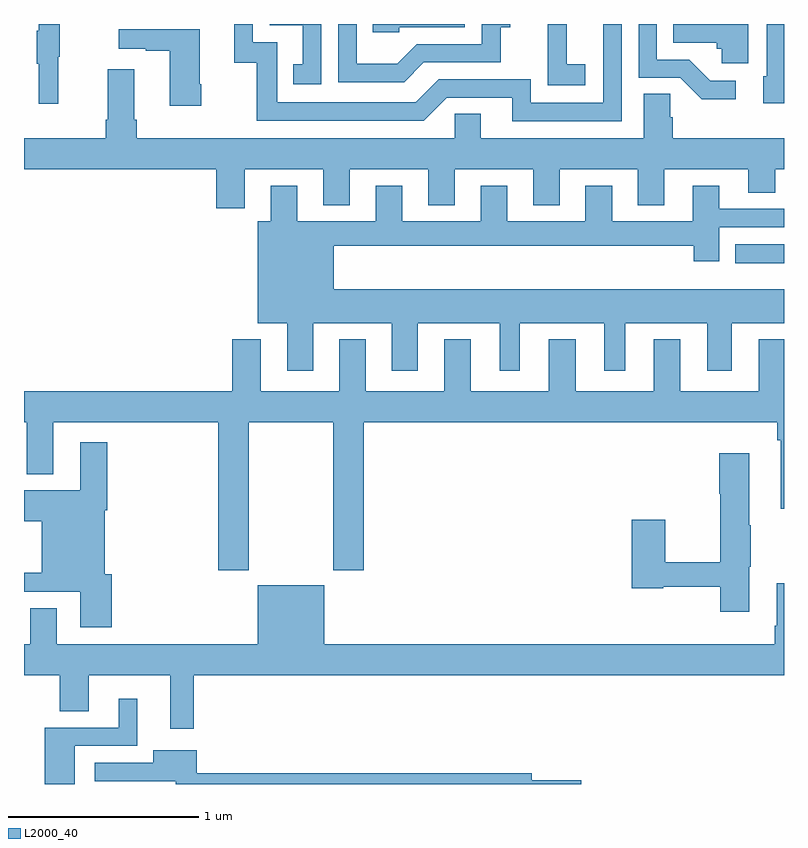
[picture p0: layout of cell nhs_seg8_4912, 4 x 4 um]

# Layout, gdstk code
import gdstk
lib = gdstk.Library(unit=1e-6, precision=1e-09)
def R(c, l, rs):  # rectangles x0, y0, x1, y1
    for r in rs: c.add(gdstk.rectangle(r[:2], r[2:], *l))
def P(c, l, *ps):  # polygons
    for p in ps: c.add(gdstk.Polygon(p, *l))
L2000_40 = (2000, 40)

nhs_seg8_4912 = lib.new_cell('nhs_seg8_4912')
R(nhs_seg8_4912, L2000_40, [(410.744,1146.641,411,1146.742)])
P(nhs_seg8_4912, L2000_40, [(408.564,1147.9),(408.294,1147.9),(408.294,1147.893),(408.467,1147.893),(408.467,1147.689),(408.418,1147.689),(408.418,1147.584),(408.564,1147.584)],
  [(408.975,1147.884),(409.32,1147.884),(409.32,1147.9),(408.835,1147.9),(408.835,1147.857),(408.975,1147.857)],
  [(409.954,1147.687),(409.856,1147.687),(409.856,1147.9),(409.757,1147.9),(409.757,1147.783),(409.756,1147.783),(409.756,1147.577),(409.954,1147.577)],
  [(410.145,1147.9),(410.049,1147.9),(410.049,1147.485),(409.668,1147.485),(409.668,1147.608),(409.182,1147.608),(409.062,1147.488),(408.333,1147.488),(408.333,1147.803),(408.204,1147.803),(408.204,1147.9),(408.107,1147.9),(408.107,1147.695),(408.225,1147.695),(408.225,1147.392),(409.104,1147.392),(409.224,1147.512),(409.571,1147.512),(409.571,1147.389),(410.145,1147.389)],
  [(411,1147.9),(410.91,1147.9),(410.91,1147.626),(410.891,1147.626),(410.891,1147.482),(411,1147.482)],
  [(410.746,1147.602),(410.611,1147.602),(410.5,1147.713),(410.331,1147.713),(410.331,1147.9),(410.235,1147.9),(410.235,1147.617),(410.454,1147.617),(410.567,1147.505),(410.746,1147.505)],
  [(409.105,1147.698),(409.509,1147.698),(409.509,1147.883),(409.558,1147.883),(409.558,1147.9),(409.41,1147.9),(409.41,1147.794),(409.068,1147.794),(408.964,1147.69),(408.75,1147.69),(408.75,1147.9),(408.654,1147.9),(408.654,1147.593),(409,1147.593)],
  [(410.812,1147.9),(410.416,1147.9),(410.416,1147.802),(410.647,1147.802),(410.647,1147.77),(410.673,1147.77),(410.673,1147.694),(410.812,1147.694)],
  [(407.18,1147.728),(407.188,1147.728),(407.188,1147.9),(407.078,1147.9),(407.078,1147.865),(407.067,1147.865),(407.067,1147.691),(407.078,1147.691),(407.078,1147.479),(407.18,1147.479)],
  [(407.934,1147.582),(407.926,1147.582),(407.926,1147.873),(407.499,1147.873),(407.499,1147.769),(407.642,1147.769),(407.642,1147.759),(407.768,1147.759),(407.768,1147.47),(407.934,1147.47)],
  [(409.405,1147.427),(409.266,1147.427),(409.266,1147.3),(407.594,1147.3),(407.594,1147.396),(407.581,1147.396),(407.581,1147.663),(407.441,1147.663),(407.441,1147.396),(407.429,1147.396),(407.429,1147.3),(407,1147.3),(407,1147.136),(408.011,1147.136),(408.011,1146.93),(408.163,1146.93),(408.163,1147.136),(408.575,1147.136),(408.575,1146.947),(408.715,1146.947),(408.715,1147.136),(409.127,1147.136),(409.127,1146.947),(409.267,1146.947),(409.267,1147.136),(409.679,1147.136),(409.679,1146.947),(409.819,1146.947),(409.819,1147.136),(410.231,1147.136),(410.231,1146.947),(410.371,1146.947),(410.371,1147.136),(410.813,1147.136),(410.813,1147.012),(410.953,1147.012),(410.953,1147.136),(411,1147.136),(411,1147.3),(410.414,1147.3),(410.414,1147.409),(410.4,1147.409),(410.4,1147.532),(410.261,1147.532),(410.261,1147.3),(409.405,1147.3)],
  [(408.523,1146.326),(408.935,1146.326),(408.935,1146.075),(409.072,1146.075),(409.072,1146.326),(409.505,1146.326),(409.505,1146.075),(409.609,1146.075),(409.609,1146.326),(410.054,1146.326),(410.054,1146.075),(410.164,1146.075),(410.164,1146.326),(410.597,1146.326),(410.597,1146.075),(410.725,1146.075),(410.725,1146.326),(411,1146.326),(411,1146.505),(408.631,1146.505),(408.631,1146.734),(410.525,1146.734),(410.525,1146.651),(410.659,1146.651),(410.659,1146.831),(411,1146.831),(411,1146.927),(410.659,1146.927),(410.659,1147.048),(410.519,1147.048),(410.519,1146.862),(410.095,1146.862),(410.095,1147.048),(409.955,1147.048),(409.955,1146.862),(409.543,1146.862),(409.543,1147.048),(409.403,1147.048),(409.403,1146.862),(408.991,1146.862),(408.991,1147.048),(408.851,1147.048),(408.851,1146.862),(408.439,1146.862),(408.439,1147.048),(408.299,1147.048),(408.299,1146.862),(408.23,1146.862),(408.23,1146.326),(408.386,1146.326),(408.386,1146.075),(408.523,1146.075)],
  [(408.183,1145.804),(408.628,1145.804),(408.628,1145.025),(408.788,1145.025),(408.788,1145.804),(410.965,1145.804),(410.965,1145.708),(410.984,1145.708),(410.984,1145.349),(411,1145.349),(411,1146.241),(410.867,1146.241),(410.867,1145.968),(410.455,1145.968),(410.455,1146.241),(410.315,1146.241),(410.315,1145.968),(409.903,1145.968),(409.903,1146.241),(409.763,1146.241),(409.763,1145.968),(409.351,1145.968),(409.351,1146.241),(409.211,1146.241),(409.211,1145.968),(408.799,1145.968),(408.799,1146.241),(408.659,1146.241),(408.659,1145.968),(408.247,1145.968),(408.247,1146.241),(408.095,1146.241),(408.095,1145.968),(407,1145.968),(407,1145.804),(407.015,1145.804),(407.015,1145.531),(407.155,1145.531),(407.155,1145.804),(408.023,1145.804),(408.023,1145.025),(408.183,1145.025)],
  [(407.462,1145.004),(407.425,1145.004),(407.425,1145.342),(407.438,1145.342),(407.438,1145.698),(407.297,1145.698),(407.297,1145.446),(407,1145.446),(407,1145.282),(407.093,1145.282),(407.093,1145.012),(407,1145.012),(407,1144.911),(407.297,1144.911),(407.297,1144.725),(407.462,1144.725)],
  [(410.818,1145.043),(410.826,1145.043),(410.826,1145.261),(410.818,1145.261),(410.818,1145.641),(410.66,1145.641),(410.66,1145.428),(410.665,1145.428),(410.665,1145.066),(410.376,1145.066),(410.376,1145.29),(410.198,1145.29),(410.198,1144.93),(410.364,1144.93),(410.364,1144.938),(410.665,1144.938),(410.665,1144.806),(410.818,1144.806)],
  [(407.893,1144.472),(411,1144.472),(411,1144.957),(410.963,1144.957),(410.963,1144.732),(410.951,1144.732),(410.951,1144.636),(408.58,1144.636),(408.58,1144.945),(408.23,1144.945),(408.23,1144.636),(407.173,1144.636),(407.173,1144.826),(407.033,1144.826),(407.033,1144.636),(407,1144.636),(407,1144.472),(407.189,1144.472),(407.189,1144.282),(407.341,1144.282),(407.341,1144.472),(407.771,1144.472),(407.771,1144.191),(407.893,1144.191)],
  [(407.266,1144.101),(407.596,1144.101),(407.596,1144.348),(407.498,1144.348),(407.498,1144.197),(407.108,1144.197),(407.108,1143.9),(407.266,1143.9)],
  [(409.933,1143.92),(409.672,1143.92),(409.672,1143.956),(407.908,1143.956),(407.908,1144.078),(407.681,1144.078),(407.681,1144.011),(407.373,1144.011),(407.373,1143.915),(407.798,1143.915),(407.798,1143.9),(409.933,1143.9)])

lib.write_gds('nhs_seg8_4912.gds')
